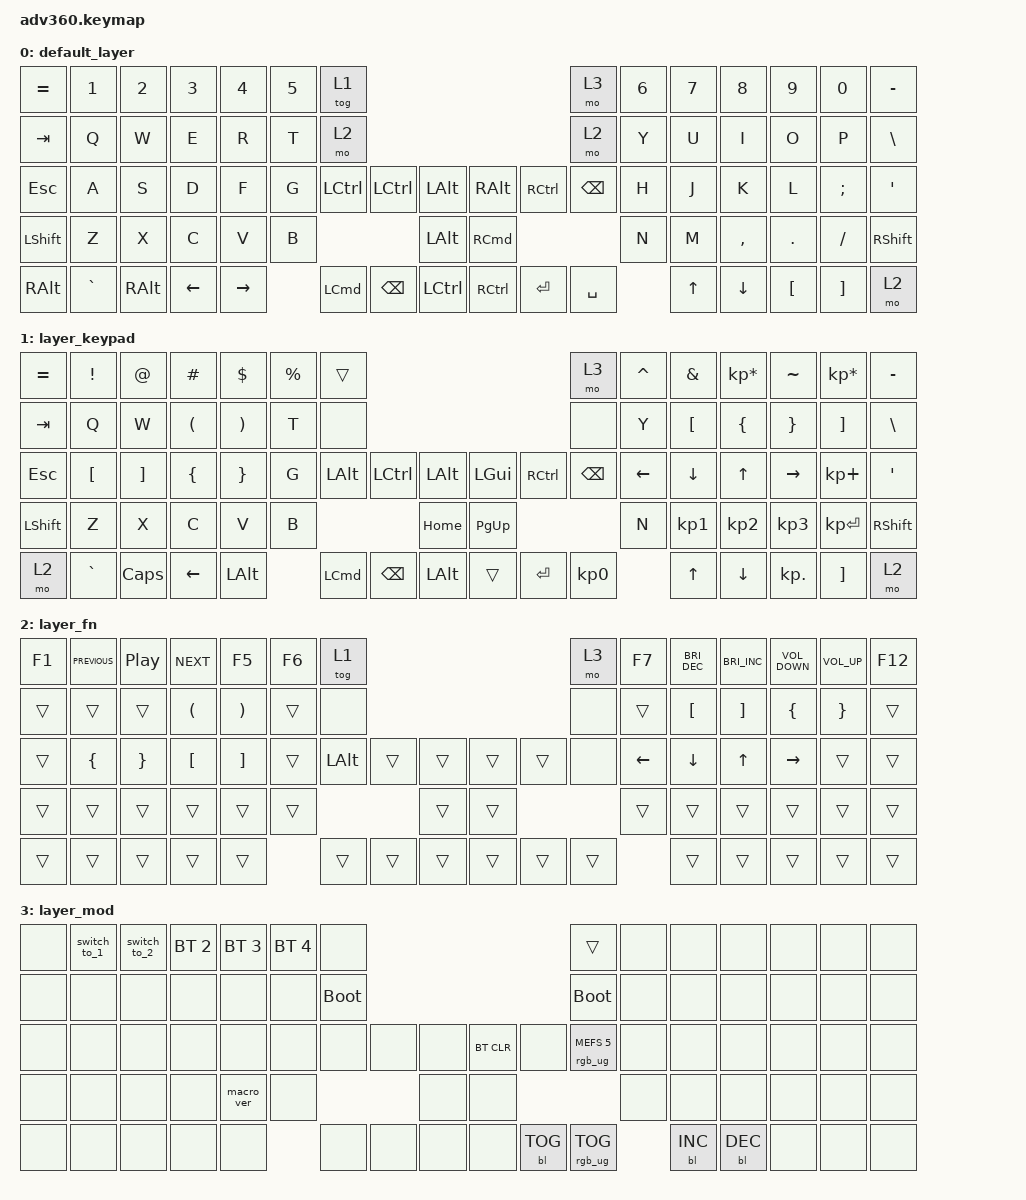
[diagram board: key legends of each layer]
/*
 * Copyright (c) 2020 The ZMK Contributors
 *
 * SPDX-License-Identifier: MIT
 */
/* THIS FILE WAS GENERATED!
 *
 * This file was generated automatically. You may or may not want to
 * edit it directly.
 */

#include <behaviors.dtsi>
#include <dt-bindings/zmk/backlight.h>
#include <dt-bindings/zmk/bt.h>
#include <dt-bindings/zmk/keys.h>
#include <dt-bindings/zmk/rgb.h>

/ {
    behaviors {
        #include "macros.dtsi"
    #include "version.dtsi"

        hm: homerow_mods {
            compatible = "zmk,behavior-hold-tap";
            label = "HOMEROW_MODS";
            #binding-cells = <2>;
            tapping-term-ms = <200>;
            quick_tap_ms = <175>;
            flavor = "tap-preferred";
            bindings = <&kp>, <&kp>;
        };
    };

    keymap {
        compatible = "zmk,keymap";

        default_layer {
            bindings = <
&kp EQUAL      &kp N1     &kp N2    &kp N3          &kp N4           &kp N5  &tog 1                                                                       &mo 3      &kp N6  &kp N7        &kp N8          &kp N9            &kp N0             &kp MINUS
&kp TAB        &kp Q      &kp W     &kp E           &kp R            &kp T   &mo 2                                                                        &mo 2      &kp Y   &kp U         &kp I           &kp O             &kp P              &kp BSLH
&kp ESC        &kp A      &kp S     &kp D           &kp F            &kp G   &kp LCTRL  &kp LEFT_CONTROL  &kp LALT          &kp RALT           &kp RCTRL  &kp BSPC   &kp H   &kp J         &kp K           &kp L             &kp SEMI           &kp SQT
&kp LSHFT      &kp Z      &kp X     &kp C           &kp V            &kp B                                &kp LEFT_ALT      &kp RIGHT_COMMAND                        &kp N   &kp M         &kp COMMA       &kp DOT           &kp FSLH           &kp RSHFT
&kp RIGHT_ALT  &kp GRAVE  &kp RALT  &kp LEFT_ARROW  &kp RIGHT_ARROW          &kp LCMD   &kp BSPC          &kp LCTRL         &kp RCTRL          &kp ENTER  &kp SPACE          &kp UP_ARROW  &kp DOWN_ARROW  &kp LEFT_BRACKET  &kp RIGHT_BRACKET  &mo 2
            >;
        };

        layer_keypad {
            bindings = <
&kp EQUAL  &kp EXCLAMATION   &kp AT_SIGN        &kp HASH              &kp DOLLAR             &kp PERCENT  &trans                                                           &mo 3          &kp CARET       &kp AMPERSAND     &kp KP_MULTIPLY  &kp TILDE        &kp KP_MULTIPLY    &kp MINUS
&kp TAB    &kp Q             &kp W              &kp LEFT_PARENTHESIS  &kp RIGHT_PARENTHESIS  &kp T        &none                                                            &none          &kp Y           &kp LEFT_BRACKET  &kp LEFT_BRACE   &kp RIGHT_BRACE  &kp RIGHT_BRACKET  &kp BSLH
&kp ESC    &kp LEFT_BRACKET  &kp RIGHT_BRACKET  &kp LEFT_BRACE        &kp RIGHT_BRACE        &kp G        &kp LALT          &kp LCTRL  &kp LALT      &kp LGUI   &kp RCTRL  &kp BACKSPACE  &kp LEFT_ARROW  &kp DOWN_ARROW    &kp UP_ARROW     &kp RIGHT_ARROW  &kp KP_PLUS        &kp SQT
&kp LSHFT  &kp Z             &kp X              &kp C                 &kp V                  &kp B                                     &kp HOME      &kp PG_UP                            &kp N           &kp KP_N1         &kp KP_N2        &kp KP_N3        &kp KP_ENTER       &kp RSHFT
&mo 2      &kp GRAVE         &kp CAPS           &kp LEFT              &kp LALT                            &kp LEFT_COMMAND  &kp BSPC   &kp LALT      &trans     &kp ENTER  &kp KP_N0                      &kp UP            &kp DOWN         &kp KP_DOT       &kp RBKT           &mo 2
            >;
        };

        layer_fn {
            bindings = <
&kp F1  &kp C_PREVIOUS  &kp C_PLAY_PAUSE  &kp C_NEXT            &kp F5                 &kp F6  &tog 1                                        &mo 3   &kp F7          &kp C_BRIGHTNESS_DEC  &kp C_BRIGHTNESS_INC  &kp C_VOLUME_DOWN  &kp C_VOLUME_UP  &kp F12
&trans  &trans          &trans            &kp LEFT_PARENTHESIS  &kp RIGHT_PARENTHESIS  &trans  &none                                         &none   &trans          &kp LEFT_BRACKET      &kp RIGHT_BRACKET     &kp LEFT_BRACE     &kp RIGHT_BRACE  &trans
&trans  &kp LEFT_BRACE  &kp RIGHT_BRACE   &kp LEFT_BRACKET      &kp RIGHT_BRACKET      &trans  &kp LALT  &trans  &trans      &trans  &trans  &none   &kp LEFT_ARROW  &kp DOWN_ARROW        &kp UP_ARROW          &kp RIGHT_ARROW    &trans           &trans
&trans  &trans          &trans            &trans                &trans                 &trans                    &trans      &trans                  &trans          &trans                &trans                &trans             &trans           &trans
&trans  &trans          &trans            &trans                &trans                         &trans    &trans  &trans      &trans  &trans  &trans                  &trans                &trans                &trans             &trans           &trans
            >;
        };

        layer_mod {
            bindings = <
&none  &switch_to_1  &switch_to_2  &bt BT_SEL 2  &bt BT_SEL 3  &bt BT_SEL 4  &none                                                  &trans                  &none  &none       &none       &none  &none  &none
&none  &none         &none         &none         &none         &none         &bootloader                                            &bootloader             &none  &none       &none       &none  &none  &none
&none  &none         &none         &none         &none         &none         &none        &none  &none      &bt BT_CLR  &none       &rgb_ug RGB_MEFS_CMD 5  &none  &none       &none       &none  &none  &none
&none  &none         &none         &none         &macro_ver    &none                             &none      &none                                           &none  &none       &none       &none  &none  &none
&none  &none         &none         &none         &none                       &none        &none  &none      &none       &bl BL_TOG  &rgb_ug RGB_TOG                &bl BL_INC  &bl BL_DEC  &none  &none  &none
            >;
        };
    };
};
